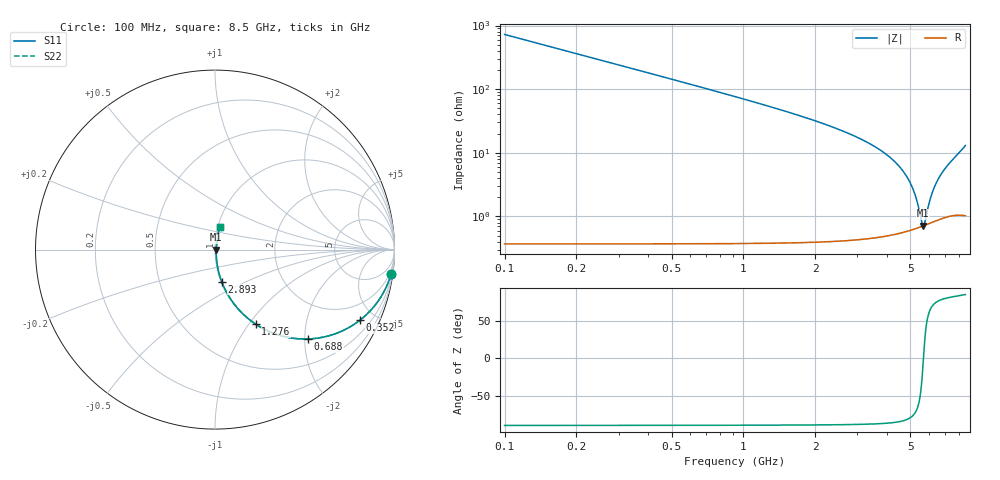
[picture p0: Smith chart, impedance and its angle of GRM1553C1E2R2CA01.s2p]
!Murata Part Number: GRM1553C1E2R2CA01
!These Parameters are Measured in Series Mode Connection
!Data Generated on Mar 30, 2021
!  o--ll--o
!Port1  Port2
!  o------o
!Operation Temp=25[degC], DC Bias Voltage=0[V]
!Freq. Start=100[MHz] Stop=9[GHz] 401[Steps]
# Hz S RI R 50
!Freq.(Hz) S11(Real) S11(Imag) S21(Real) S21(Imag) S12(Real) S12(Imag) S22(Real) S22(Imag)
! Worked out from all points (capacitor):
!   401 points, 100 MHz to 8.5 GHz, reference 50 ohm
!   read as one part in series: C = 2.2 pF near 142 MHz
!   lowest |Z| = 712 mohm at 5.665 GHz (marker M1)
!   series resonance near 5.673 GHz, so ESL is about 360 pH
!   S11 on the Smith chart (normalised r, x): 100 MHz: 1, -14; 352 MHz: 1.01, -4.09; 688 MHz: 1.01, -2.07; 1.276 GHz: 1.01, -1.08; 2.893 GHz: 1.01, -0.37; 8.5 GHz: 1.02, +0.26
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1e8  0.9812 -0.1357  0.0188 0.1357  0.0188 0.1357  0.9812 -0.1357
2.26e8  0.9106 -0.2848  0.0894 0.2848  0.0894 0.2848  0.9106 -0.2848
3.52e8  0.807 -0.3938  0.193 0.3938  0.193 0.3938  0.807 -0.3938
4.99e8  0.6739 -0.4675  0.3261 0.4675  0.3261 0.4675  0.6739 -0.4675
6.88e8  0.5178 -0.4979  0.4822 0.4979  0.4822 0.4979  0.5178 -0.4979
9.61e8  0.3494 -0.4742  0.6506 0.4742  0.6506 0.4742  0.3494 -0.4742
1.276e9  0.2267 -0.4152  0.7733 0.4152  0.7733 0.4152  0.2267 -0.4152
1.507e9  0.1686 -0.3701  0.8314 0.3701  0.8314 0.3701  0.1686 -0.3701
2.893e9  0.0373 -0.1784  0.9627 0.1784  0.9627 0.1784  0.0373 -0.1784
2.914e9  0.0365 -0.1764  0.9635 0.1764  0.9635 0.1764  0.0365 -0.1764
4.3e9  0.0103 -0.0714  0.9897 0.0714  0.9897 0.0714  0.0103 -0.0714
4.741e9  0.00781 -0.0461  0.9922 0.0461  0.9922 0.0461  0.00781 -0.0461
5.077e9  0.00694 -0.0285  0.9931 0.0285  0.9931 0.0285  0.00694 -0.0285
5.287e9  0.00676 -0.0181  0.9932 0.0181  0.9932 0.0181  0.00676 -0.0181
5.581e9  0.00693 -0.00419  0.9931 0.00419  0.9931 0.00419  0.00693 -0.00419
5.665e9  0.00706 -0.00035  0.9929 0.00035  0.9929 0.00035  0.00706 -0.00035
5.707e9  0.00714 0.00155  0.9929 -0.00155  0.9929 -0.00155  0.00714 0.00155
6.022e9  0.00796 0.0154  0.992 -0.0154  0.992 -0.0154  0.00796 0.0154
6.274e9  0.00889 0.026  0.9911 -0.026  0.9911 -0.026  0.00889 0.026
6.631e9  0.0106 0.0405  0.9894 -0.0405  0.9894 -0.0405  0.0106 0.0405
7.114e9  0.0133 0.0595  0.9867 -0.0595  0.9867 -0.0595  0.0133 0.0595
8.5e9  0.0263 0.1254  0.9737 -0.1254  0.9737 -0.1254  0.0263 0.1254
